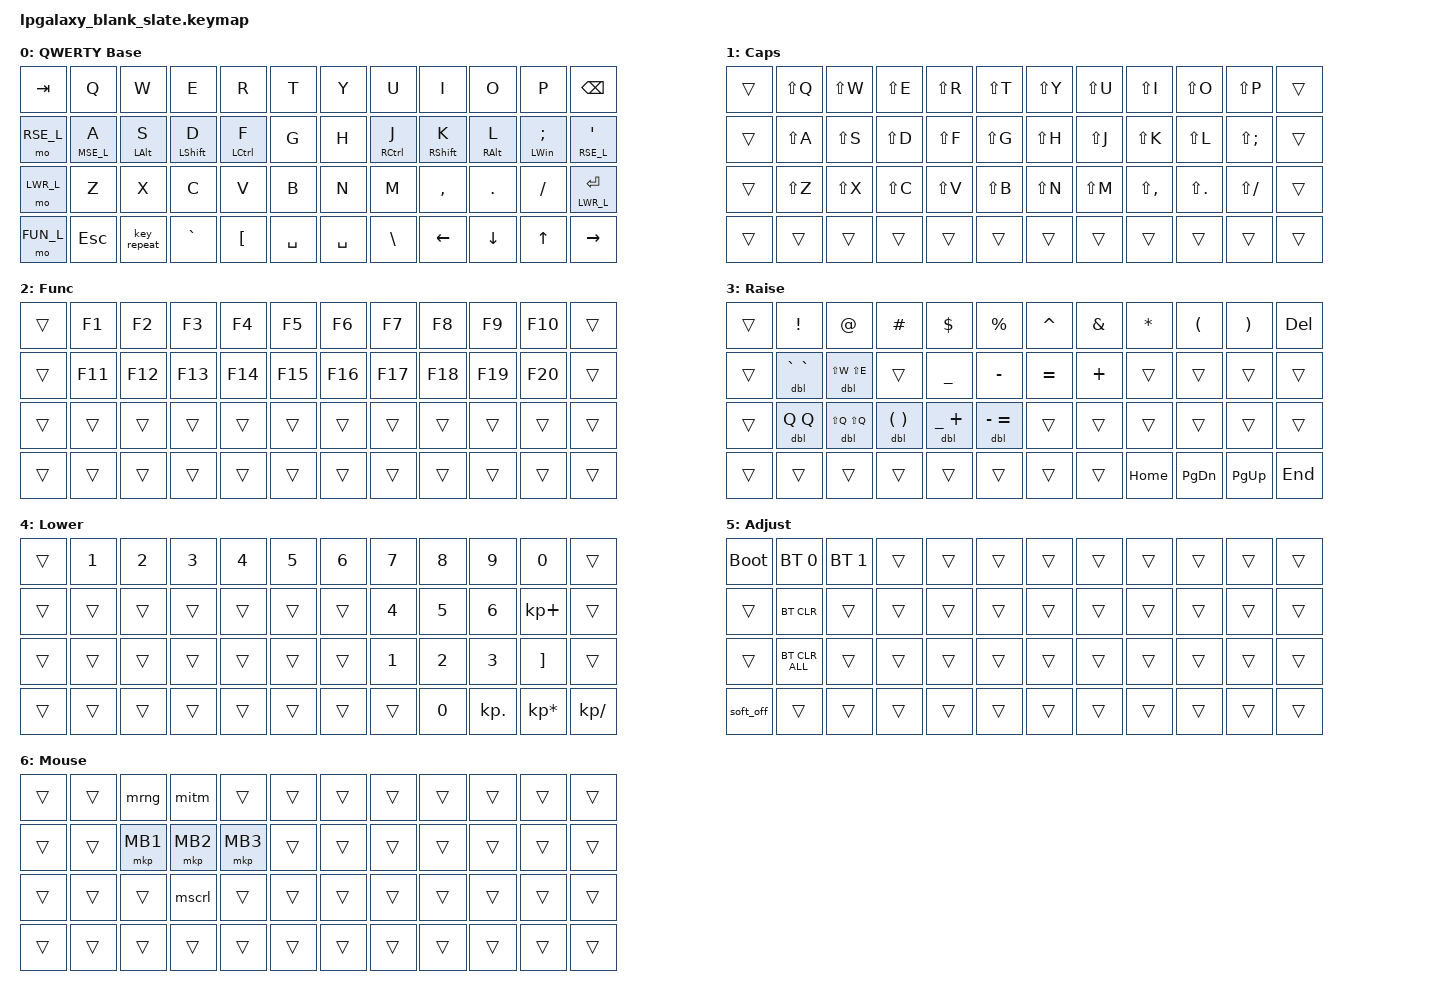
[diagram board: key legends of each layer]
/*
 * Copyright (c) 2022 Pete Johanson
 *
 * SPDX-License-Identifier: MIT
 */

#include <behaviors.dtsi>
#include <dt-bindings/zmk/keys.h>
#include <dt-bindings/zmk/bt.h>
#include <dt-bindings/zmk/outputs.h>
#include <dt-bindings/zmk/mouse.h>

#define QWERTY_BASE 1

#define TBLE_ORTHO   1

#define CAP_L 1
#define FUN_L 2
#define RSE_L 3
#define LWR_L 4
#define ADJ_L 5
#define MSE_L 6

#define D_GRV &dbl GRAVE GRAVE
#define D_S_Q &dbl Q Q
#define D_D_Q &dbl LS(Q) LS(Q)
#define D_PAREN &dbl LPAR RPAR
#define D_BRC &dbl UNDER PLUS
#define D_BKT &dbl MINUS EQUAL
#define D_ANG &dbl LS(W) LS(E)

#define V_LBRC &kp UNDER
#define V_RBRC &kp PLUS
#define V_LBKT &kp MINUS
#define V_RBKT &kp EQUAL

// Using layer taps on thumbs, having quick tap as well helps w/ repeating space/backspace
&lt { quick_tap_ms = <200>; };
&mt { tapping_term_ms = <175>; flavor = "tap-preferred"; };
&caps_word {
	continue-list = <SEMI COMMA DOT FSLH LALT>;
};

#define BT(n) BT_SEL n

/ {
    chosen {
       zmk,physical-layout =
                       &layout_ortho_4x12_all1u;
    };

    behaviors {
		rw_caps: rw_caps {
			compatible = "zmk,behavior-auto-layer";
			#binding-cells = <1>;
			continue-list = <SEMI COMMA DOT FSLH SQT DQT>;
			ignore-alphas;
		};
        // Mod-tap with tap-preferred behavior and quick-tap settings that enable repeat
        mt_rep: mt_repeat {
            compatible = "zmk,behavior-hold-tap";
            #binding-cells = <2>;
            flavor = "tap-preferred";
            tapping-term-ms = <150>;
            quick-tap-ms = <150>;
            require-prior-idle-ms = <100>;
            hold-trigger-on-release;
            hold-trigger-key-positions = <13 14 15 16 19 20 21 22 23>;
            bindings = <&kp>, <&kp>;
        };

        // Layer-tap with tap-preferred behavior and quick-tap settings that enable repeat
        lt_rep: lt_repeat {
            compatible = "zmk,behavior-hold-tap";
            #binding-cells = <2>;
            flavor = "tap-preferred";
            tapping-term-ms = <150>;
            quick-tap-ms = <150>;
            require-prior-idle-ms = <100>;
            bindings = <&mo>, <&kp>;
        };
    };

	conditional_layers {
		compatible = "zmk,conditional-layers";
		tri_layer {
			if-layers = <RSE_L LWR_L>;
			then-layer = <ADJ_L>;
		};
	};

    soft_off_waker: soft_off_waker {
        compatible = "zmk,soft-off-wakeup-sources";
        wakeup-sources = <&kscan>; // Try plain '&kscan' or '&kscan0' without the path wrapper
        #binding-cells = <0>; // Tells the compiler this behavior takes 0 arguments
    };

	combos {
		compatible = "zmk,combos";

		caps_word_combo {
			bindings = <&rw_caps CAP_L>;
			key-positions = <15 20>;
		};

        combo_wake_up {
            timeout-ms = <50>;
            key-positions = <0 11>; // Change to your preferred top-left + top-right key positions
            bindings = <&soft_off_waker>;
        };
	};

    macros {
		dbl: double_chr {
			compatible = "zmk,behavior-macro-two-param";
			#binding-cells = <2>;
			bindings =
				<&macro_param_1to1 &kp MACRO_PLACEHOLDER>,
				<&macro_param_2to1 &kp MACRO_PLACEHOLDER>,
				<&macro_tap &kp LEFT>;
		};
		mscrl: mscrl {
			compatible = "zmk,behavior-macro";
			#binding-cells = <0>;
			bindings =
				<&macro_press &kp CAPS>,
				<&macro_release &kp CAPS>,
				<&macro_press &kp KP_NLCK>,
				<&macro_release &kp KP_NLCK>,
				<&macro_press &kp CAPS>,
				<&macro_release &kp CAPS>,
				<&macro_press &kp KP_NLCK>,
				<&macro_release &kp KP_NLCK>;
		};
		mrnga: mouse_range_a {
			compatible = "zmk,behavior-macro";
			#binding-cells = <0>;
			bindings
				= <&macro_press &kp LSHFT>,<&macro_wait_time 30>,<&macro_wait_time 30>,<&macro_release &kp LSHFT>;
		};
		mrng: mouse_range {
			compatible = "zmk,behavior-macro";
			#binding-cells = <0>;
			bindings =
    			<&macro_wait_time 20>,
    			<&macro_press &kp LSHFT>,
    			<&macro_press &mkp MB1>,
    			<&macro_release &mkp MB1>,
    			<&macro_release &kp LSHFT>;
		};
		mitm: mouse_item {
			compatible = "zmk,behavior-macro";
			#binding-cells = <0>;
			bindings =
				<&macro_wait_time 30>,
				<&macro_press &kp LCTRL>,
				<&macro_press &mkp MB1>,
				<&macro_release &mkp MB1>,
				<&macro_release &kp LCTRL>;
		};
    };

    /*
    tap_dances {
    	shifty: shift_caps_word {
		compatible = "zmk,behavior-tap-dance";
		label = "TD_SHIFTY";
		#binding-cells = <0>;
		tapping-term-ms = <150>;
		bindings = <&kp LSHFT>, <&caps_word>;
	};
    };
*/
    keymap {
        compatible = "zmk,keymap";

        base_layer {
            label = "QWERTY Base";
            bindings = <
 &kp TAB    &kp Q           &kp W          &kp E           &kp R           &kp T     &kp Y     &kp U           &kp I           &kp O           &kp P             &kp BKSP
 &mo RSE_L  &lt_rep MSE_L A &mt_rep LALT S &mt_rep LSHFT D &mt_rep LCTRL F &kp G     &kp H     &mt_rep RCTRL J &mt_rep RSHFT K &mt_rep RALT L  &mt_rep LWIN SEMI &lt_rep RSE_L SQT
 &mo LWR_L  &kp Z           &kp X          &kp C           &kp V           &kp B     &kp N     &kp M           &kp COMMA       &kp DOT         &kp FSLH          &lt_rep LWR_L RET
 &mo FUN_L  &kp ESC         &key_repeat    &kp GRAVE       &kp LBKT        &kp SPACE &kp SPACE &kp BSLH        &kp LEFT        &kp DOWN        &kp UP            &kp RIGHT
            >;
        };

		cap_layer {
			label = "Caps";
			bindings = <
	&trans &kp LS(Q) &kp LS(W) &kp LS(E) &kp LS(R) &kp LS(T) &kp LS(Y) &kp LS(U) &kp LS(I)     &kp LS(O)   &kp LS(P)      &trans
	&trans &kp LS(A) &kp LS(S) &kp LS(D) &kp LS(F) &kp LS(G) &kp LS(H) &kp LS(J) &kp LS(K)     &kp LS(L)   &kp LS(SEMI)   &trans
	&trans &kp LS(Z) &kp LS(X) &kp LS(C) &kp LS(V) &kp LS(B) &kp LS(N) &kp LS(M) &kp LS(COMMA) &kp LS(DOT) &kp LS(FSLH)   &trans
	&trans &trans    &trans    &trans    &trans    &trans    &trans    &trans    &trans        &trans      &trans         &trans
			>;
		};

		func_layer {
			label = "Func";
			bindings = <
	&trans  &kp F1  &kp F2  &kp F3  &kp F4  &kp F5  &kp F6  &kp F7  &kp F8  &kp F9  &kp F10 &trans
	&trans  &kp F11 &kp F12 &kp F13 &kp F14 &kp F15 &kp F16 &kp F17 &kp F18 &kp F19 &kp F20 &trans
	&trans  &trans  &trans  &trans  &trans  &trans  &trans  &trans  &trans  &trans  &trans  &trans
	&trans  &trans  &trans  &trans  &trans  &trans  &trans  &trans  &trans  &trans  &trans  &trans
			>;
		};

		raise_layer {
			label = "Raise";
			bindings = <
	&trans    &kp EXCL &kp AT    &kp HASH &kp DLLR  &kp PRCNT &kp CARET &kp AMPS &kp ASTRK &kp LPAR  &kp RPAR  &kp DEL
	&trans    D_GRV    D_ANG     &trans   V_LBRC    V_LBKT    V_RBKT    V_RBRC   &trans    &trans    &trans    &trans
	&trans    D_S_Q    D_D_Q     D_PAREN  D_BRC     D_BKT     &trans    &trans   &trans    &trans    &trans    &trans
	&trans    &trans   &trans    &trans   &trans    &trans    &trans    &trans   &kp HOME  &kp PG_DN &kp PG_UP &kp END
			>;

		};

		lower_layer {
			label = "Lower";
			bindings = <
	&trans &kp N1 &kp N2 &kp N3 &kp N4 &kp N5 &kp N6 &kp N7 &kp N8 &kp N9     &kp N0          &trans
	&trans &trans &trans &trans &trans &trans &trans &kp N4 &kp N5 &kp N6     &kp KP_PLUS     &trans
	&trans &trans &trans &trans &trans &trans &trans &kp N1 &kp N2 &kp N3     &kp RBKT        &trans
	&trans &trans &trans &trans &trans &trans &trans &trans &kp N0 &kp KP_DOT &kp KP_MULTIPLY &kp KP_DIVIDE
			>;

		};

		adjust_layer {
			label = "Adjust";
			bindings = <
	&bootloader &bt BT_SEL 0   &bt BT_SEL 1 &trans &trans &trans &trans &trans &trans &trans &trans &trans
	&trans      &bt BT_CLR     &trans       &trans &trans &trans &trans &trans &trans &trans &trans &trans
	&trans      &bt BT_CLR_ALL &trans       &trans &trans &trans &trans &trans &trans &trans &trans &trans
	&soft_off   &trans         &trans       &trans &trans &trans &trans &trans &trans &trans &trans &trans
			>;

		};

		mouse_layer {
			label = "Mouse";
			bindings = <
	&trans &trans &mrng    &mitm    &trans   &trans &trans &trans &trans &trans &trans &trans
	&trans &trans &mkp MB1 &mkp MB2 &mkp MB3 &trans &trans &trans &trans &trans &trans &trans
	&trans &trans &trans   &mscrl   &trans   &trans &trans &trans &trans &trans &trans &trans
	&trans &trans &trans   &trans   &trans   &trans &trans &trans &trans &trans &trans &trans
			>;

		};
/*

	&trans &trans &trans &trans &trans &trans &trans &trans &trans &trans &trans &trans
	&trans &trans &trans &trans &trans &trans &trans &trans &trans &trans &trans &trans
	&trans &trans &trans &trans &trans &trans &trans &trans &trans &trans &trans &trans
	&trans &trans &trans &trans &trans &trans &trans &trans &trans &trans &trans &trans

        nav_layer {
            label = "Nav";
            bindings = <
&bt BT_CLR &trans     &trans     &trans      &trans          &trans       &trans     &trans         &trans      &trans     &trans     &kp DEL
&trans     &trans     &trans     &trans      &trans          &trans       &trans     &kp LEFT       &kp DOWN    &kp UP     &kp RIGHT  &trans
&trans     &bt BT(0)  &bt BT(1)  &bt BT(2)   &bt BT(3)       &bt BT(4)    &trans     &kp HOME       &kp PG_DN   &kp PG_UP  &kp END    &trans
#ifdef TBLE_DUAL_2U
&trans  &trans        &trans     &trans              &trans                    &trans       &trans         &trans &trans &trans
#elif defined(TBLE_MIT)
&trans  &trans        &trans     &trans      &trans                &trans             &trans      &trans   &trans &trans &trans
#else
&trans  &trans        &trans     &trans      &trans          &trans       &trans    &trans  &trans         &trans &trans &trans
#endif
            >;
        };

        num_layer {
            label = "Num";
            bindings = <
&trans     &kp LBKT   &trans &trans &trans    &kp RBKT    &kp C_PREV    &kp N7     &kp N8      &kp N9       &trans     &trans
&trans     &kp MINUS  &trans &trans &trans    &kp EQUAL   &kp C_NEXT    &kp N4     &kp N5      &kp N6       &trans     &trans
&trans     &kp GRAVE  &trans &trans &trans    &kp BSLH    &trans        &kp N1     &kp N2      &kp N3       &trans     &trans
#ifdef TBLE_DUAL_2U
&trans  &trans       &trans     &kp N0              &trans                 &trans            &trans         &trans &trans &trans
#elif defined(TBLE_MIT)
&trans  &trans       &trans     &kp N0      &trans           &none            &trans        &kp DEL      &trans &trans &trans
#else
&trans  &trans       &trans     &kp N0      &trans    &none         &none     &kp ESC        &kp DEL      &trans &trans &trans
#endif
            >;
        };

        sym_layer {
            label = "Sym";
            bindings = <
&trans     &kp LBRC   &kp AMPS   &kp STAR    &kp LPAR     &kp RBRC     &trans     &trans    &trans       &trans       &trans     &bootloader
&trans     &kp COLON  &kp DLLR   &kp PRCNT   &kp CARET    &kp PLUS     &trans     &trans    &trans       &trans       &trans     &trans
&trans     &kp TILDE  &kp EXCL   &kp AT      &kp HASH     &kp PIPE     &trans     &trans    &trans       &trans       &trans     &trans
#ifdef TBLE_DUAL_2U
&trans &trans        &trans     &kp RPAR                &trans                    &trans       &trans         &trans &trans &trans
#elif defined(TBLE_MIT)
&trans &trans        &trans     &kp RPAR        &trans                &trans             &trans      &trans   &trans &trans &trans
#else
&trans &trans        &trans     &kp RPAR        &trans          &trans       &trans    &trans  &trans         &trans &trans &trans
#endif
            >;
        };
*/


    };
};

